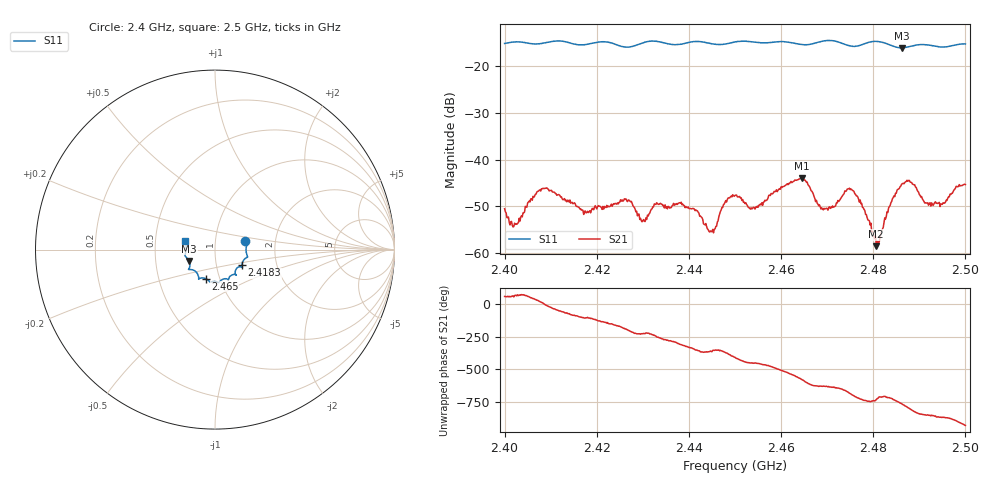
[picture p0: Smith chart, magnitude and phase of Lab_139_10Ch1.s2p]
# Hz S RI R 50
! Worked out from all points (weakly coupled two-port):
!   601 points, 2.4 GHz to 2.5 GHz, reference 50 ohm
!   highest |S21| = -44.05 dB at 2.4645 GHz (marker M1); lowest = -58.6 dB at 2.4807 GHz (marker M2)
!   lowest |S11| = -16.1 dB at 2.4862 GHz (marker M3), VSWR 1.37, Z = 37.2 - j4.82 ohm
!   |S11| at or under -10 dB: start of sweep to end of sweep
!   S12 and S22 are empty: the file has one direction only
!   S11 on the Smith chart (normalised r, x): 2.4 GHz: 1.40, +0.14; 2.4183 GHz: 1.33, -0.24; 2.465 GHz: 0.86, -0.28; 2.5 GHz: 0.71, +0.07
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2.4e9  0.1688 0.0471  0.00147 0.00258  0 0  0 0
2.402333e9  0.1783 0.0361  0.000746 0.00187  0 0  0 0
2.408667e9  0.1761 -0.0233  0.00491 9.16e-05  0 0  0 0
2.416667e9  0.1546 -0.068  -0.000432 -0.00284  0 0  0 0
2.418333e9  0.1502 -0.0867  -0.000747 -0.00266  0 0  0 0
2.4265e9  0.1216 -0.1038  -0.00354 0.00083  0 0  0 0
2.430167e9  0.1143 -0.1378  -0.00164 0.00158  0 0  0 0
2.433333e9  0.1174 -0.1409  -0.000967 0.00317  0 0  0 0
2.441333e9  0.0748 -0.168  0.00279 0.000505  0 0  0 0
2.444833e9  0.0632 -0.1626  0.00168 -0.000104  0 0  0 0
2.45e9  0.026 -0.1801  0.00275 -0.00308  0 0  0 0
2.454167e9  0.0136 -0.1805  -9.89e-05 -0.00306  0 0  0 0
2.4645e9  -0.0474 -0.1638  -0.0049 0.00392  0 0  0 0
2.465e9  -0.0525 -0.1614  -0.00393 0.00459  0 0  0 0
2.466667e9  -0.0711 -0.1577  -0.000657 0.00454  0 0  0 0
2.469667e9  -0.0908 -0.1643  9.42e-05 0.00298  0 0  0 0
2.475333e9  -0.1036 -0.1266  0.00433 0.00201  0 0  0 0
2.480667e9  -0.1476 -0.1107  0.00115 -0.000272  0 0  0 0
2.483333e9  -0.1411 -0.0968  0.00302 0.000121  0 0  0 0
2.486167e9  -0.1438 -0.0632  0.00382 -0.00387  0 0  0 0
2.4925e9  -0.1652 -0.0246  -0.00237 -0.00211  0 0  0 0
2.5e9  -0.1666 0.0469  -0.00458 0.00286  0 0  0 0
